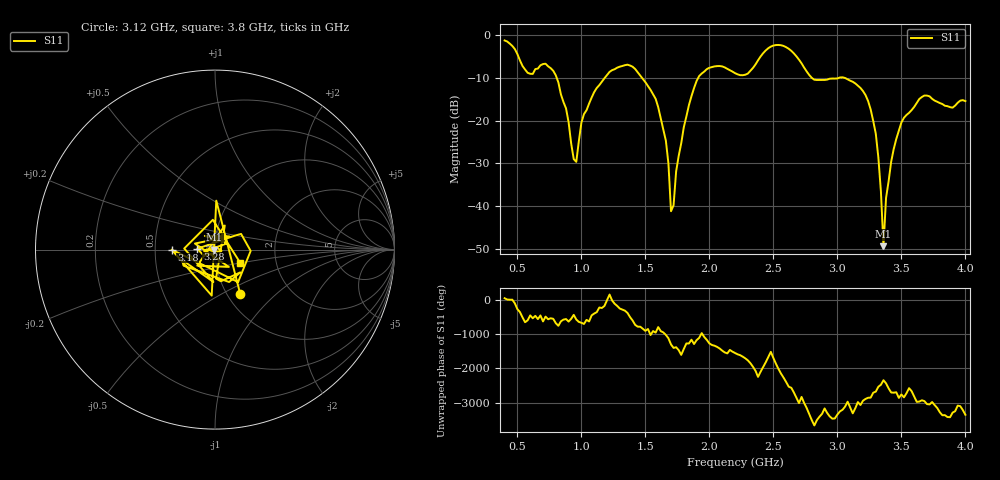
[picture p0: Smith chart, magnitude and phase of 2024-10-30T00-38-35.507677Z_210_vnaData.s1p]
!Created with skrf (http://scikit-rf.org).
# Hz S RI R 50.0
!freq ReS11 ImS11
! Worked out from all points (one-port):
!   181 points, 400 MHz to 4 GHz, reference 50 ohm
!   lowest |S11| = -49.3 dB at 3.36 GHz (marker M1), VSWR 1.01, Z = 49.7 + j0.00474 ohm
!   |S11| at or under -10 dB: 807.3 MHz to 1.182 GHz (374.6 MHz wide, 37.7 % of centre); 1.476 GHz to 1.912 GHz (436.7 MHz wide, 25.8 % of centre); 3.059 GHz to end of sweep (the widest 3 of 4)
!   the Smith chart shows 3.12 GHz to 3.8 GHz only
!   S11 on the Smith chart (normalised r, x): 3.12 GHz: 1.15, -0.62; 3.18 GHz: 0.61, +0.00; 3.28 GHz: 0.82, +0.01; 3.8 GHz: 1.31, -0.20
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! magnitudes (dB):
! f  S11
! 400 MHz  -1.2
! 580 MHz  -8.8
! 780 MHz  -8.3
! 860 MHz  -15.7
! 960 MHz  -29.6
! 1.02 GHz  -18.5
! 1.3 GHz  -7.4
! 1.58 GHz  -14.9
! 1.66 GHz  -24.7
! 1.7 GHz  -41.2
! 1.72 GHz  -39.8
! 1.76 GHz  -28.2
! 1.92 GHz  -9.6
! 2.2 GHz  -8.9
! 2.5 GHz  -2.4
! 2.66 GHz  -4.3
! 2.82 GHz  -10.4
! 3.1 GHz  -10.6
! 3.12 GHz  -10.9
! 3.18 GHz  -12.3
! 3.28 GHz  -20.1
! 3.32 GHz  -28.6
! 3.36 GHz  -49.3
! 3.38 GHz  -38.1
! 3.42 GHz  -29.6
! 3.56 GHz  -18.2
! 3.8 GHz  -15.9
! 4 GHz  -15.4
